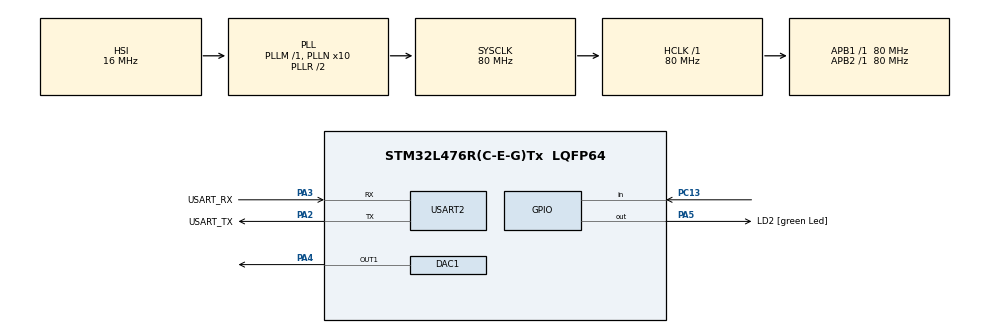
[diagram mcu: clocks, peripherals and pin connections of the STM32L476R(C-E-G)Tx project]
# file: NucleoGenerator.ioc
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DAC1.DAC_Trigger-DAC_OUT1=DAC_TRIGGER_T2_TRGO
Dma.DAC_CH1.0.Direction=DMA_MEMORY_TO_PERIPH
Dma.DAC_CH1.0.Instance=DMA1_Channel3
Dma.DAC_CH1.0.MemDataAlignment=DMA_MDATAALIGN_HALFWORD
Dma.DAC_CH1.0.MemInc=DMA_MINC_ENABLE
Dma.DAC_CH1.0.Mode=DMA_CIRCULAR
Dma.DAC_CH1.0.PeriphDataAlignment=DMA_PDATAALIGN_HALFWORD
Dma.DAC_CH1.0.PeriphInc=DMA_PINC_DISABLE
Dma.DAC_CH1.0.Priority=DMA_PRIORITY_LOW
Dma.Request0=DAC_CH1
Mcu.Family=STM32L4
Mcu.Name=STM32L476R(C-E-G)Tx
Mcu.Package=LQFP64
NVIC.DMA1_Channel3_IRQn=true\:0\:0\:false\:false\:true\:false\:true\:true
NVIC.PriorityGroup=NVIC_PRIORITYGROUP_4
NVIC.TIM2_IRQn=true\:0\:0\:false\:false\:true\:true\:true\:true
PA13\ (JTMS-SWDIO).GPIO_Label=TMS
PA13\ (JTMS-SWDIO).Mode=Serial_Wire
PA13\ (JTMS-SWDIO).Signal=SYS_JTMS-SWDIO
PA14\ (JTCK-SWCLK).GPIO_Label=TCK
PA14\ (JTCK-SWCLK).Mode=Serial_Wire
PA14\ (JTCK-SWCLK).Signal=SYS_JTCK-SWCLK
PA2.GPIO_Label=USART_TX
PA2.GPIO_Mode=GPIO_MODE_AF_PP
PA2.GPIO_PuPd=GPIO_NOPULL
PA2.GPIO_Speed=GPIO_SPEED_FREQ_VERY_HIGH
PA2.Mode=Asynchronous
PA2.Signal=USART2_TX
PA3.GPIO_Label=USART_RX
PA3.GPIO_Mode=GPIO_MODE_AF_PP
PA3.GPIO_PuPd=GPIO_NOPULL
PA3.GPIO_Speed=GPIO_SPEED_FREQ_VERY_HIGH
PA3.Mode=Asynchronous
PA3.Signal=USART2_RX
PA4.Signal=COMP_DAC11_group
PA5.GPIO_Label=LD2 [green Led]
PA5.GPIO_ModeDefaultOutputPP=GPIO_MODE_OUTPUT_PP
PA5.GPIO_PuPd=GPIO_NOPULL
PA5.GPIO_Speed=GPIO_SPEED_FREQ_LOW
PA5.Signal=GPIO_Output
PB3\ (JTDO-TRACESWO).GPIO_Label=SWO
PB3\ (JTDO-TRACESWO).Signal=SYS_JTDO-SWO
PC13.Signal=GPIO_Input
PC14-OSC32_IN\ (PC14).Mode=LSE-External-Oscillator
PC14-OSC32_IN\ (PC14).Signal=RCC_OSC32_IN
PC15-OSC32_OUT\ (PC15).Mode=LSE-External-Oscillator
PC15-OSC32_OUT\ (PC15).Signal=RCC_OSC32_OUT
PH0-OSC_IN\ (PH0).Mode=HSE-External-Oscillator
PH0-OSC_IN\ (PH0).Signal=RCC_OSC_IN
PH1-OSC_OUT\ (PH1).Mode=HSE-External-Oscillator
PH1-OSC_OUT\ (PH1).Signal=RCC_OSC_OUT
ProjectManager.HeapSize=0x200
ProjectManager.StackSize=0x400
ProjectManager.TargetToolchain=STM32CubeIDE
RCC.ADCFreq_Value=64000000
RCC.AHBFreq_Value=80000000
RCC.APB1Freq_Value=80000000
RCC.APB1TimFreq_Value=80000000
RCC.APB2Freq_Value=80000000
RCC.APB2TimFreq_Value=80000000
RCC.CortexFreq_Value=80000000
RCC.HCLKFreq_Value=80000000
RCC.HSE_VALUE=8000000
RCC.HSI_VALUE=16000000
RCC.MSI_VALUE=4000000
RCC.PLLN=10
RCC.PLLSAI1Q=RCC_PLLQ_DIV4
RCC.PLLSourceVirtual=RCC_PLLSOURCE_HSI
RCC.PREFETCH_ENABLE=1
RCC.SYSCLKFreq_VALUE=80000000
RCC.SYSCLKSource=RCC_SYSCLKSOURCE_PLLCLK
RCC.USBFreq_Value=32000000
RCC.VCOOutputFreq_Value=160000000
SH.COMP_DAC11_group.0=DAC1_OUT1,DAC_OUT1
TIM2.Period=1
TIM2.Prescaler=79
TIM2.TIM_MasterOutputTrigger=TIM_TRGO_UPDATE
USART2.VirtualMode-Asynchronous=VM_ASYNC
VP_RNG_VS_RNG.Mode=RNG_Activate
VP_TIM2_VS_ClockSourceINT.Mode=Internal
board=NUCLEO-L476RG

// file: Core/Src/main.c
/* USER CODE BEGIN Header */
/**
  ******************************************************************************
  * @file           : main.c
  * @brief          : Main program body
  ******************************************************************************
  * @attention
  *
  * <h2><center>&copy; Copyright (c) 2021 STMicroelectronics.
  * All rights reserved.</center></h2>
  *
  * This software component is licensed by ST under BSD 3-Clause license,
  * the "License"; You may not use this file except in compliance with the
  * License. You may obtain a copy of the License at:
  *                        opensource.org/licenses/BSD-3-Clause
  *
  ******************************************************************************
  */
/* USER CODE END Header */
#include "main.h"

/* USER CODE BEGIN Includes */
#include "genMain.h"

/* USER CODE END Includes */

DAC_HandleTypeDef hdac1;
DMA_HandleTypeDef hdma_dac_ch1;

RNG_HandleTypeDef hrng;

TIM_HandleTypeDef htim2;

UART_HandleTypeDef huart2;

void SystemClock_Config(void);
static void MX_GPIO_Init(void);
static void MX_DMA_Init(void);
static void MX_USART2_UART_Init(void);
static void MX_DAC1_Init(void);
static void MX_RNG_Init(void);
static void MX_TIM2_Init(void);

int main(void)
{
  /* USER CODE BEGIN 1 */

	unsigned short int	*wave;
	uint32_t			 numPoints;
	float				 realFrequency;

  /* USER CODE END 1 */

  /* MCU Configuration--------------------------------------------------------*/

  /* Reset of all peripherals, Initializes the Flash interface and the Systick. */
  HAL_Init();

  /* Configure the system clock */
  SystemClock_Config();

  /* Initialize all configured peripherals */
  MX_GPIO_Init();
  MX_DMA_Init();
  MX_USART2_UART_Init();
  MX_DAC1_Init();
  MX_RNG_Init();
  MX_TIM2_Init();

  /* Infinite loop */
  while (1)
  {

    /* USER CODE BEGIN 3 */

	  /*
	  HAL_DAC_Start(&hdac1, DAC_CHANNEL_1);
	  HAL_DAC_SetValue(&hdac1, DAC_CHANNEL_1, DAC_ALIGN_12B_R, 0);
	   */

	  do
	  {

		  //light led
		  HAL_GPIO_WritePin(GPIOA, GPIO_PIN_5, GPIO_PIN_SET);

		  //period = 10-1 -> DAC 8MSPS	not usable
		  //period = 20-1 -> DAC 4MSPS
		  //period = 40-1 -> DAC 2MSPS
		  //period = 80-1 -> DAC 1MSPS		100Hz -> 100kHz ( 10pts / period)

		  //period = 800-1 -> DAC 100KSPS

		  htim2.Instance 				= TIM2;
		  htim2.Init.Prescaler 			= 0;
		  htim2.Init.CounterMode 		= TIM_COUNTERMODE_UP;
		  htim2.Init.Period 			= 80 - 1;
		  htim2.Init.ClockDivision 		= TIM_CLOCKDIVISION_DIV1;
		  htim2.Init.AutoReloadPreload	= TIM_AUTORELOAD_PRELOAD_DISABLE;

		  HAL_TIM_Base_Init( &htim2 );
		  HAL_TIM_Base_Start( &htim2 );

//		  wave = genCreateWave( genShapeSquare, 261.626, 0.5, 0.5, 3.3, 0, 1000000, &numPoints, &realFrequency );
//		  wave = genCreateWave( genShapeTriangle, 261.626, 0.5, 0.25, 3.3, 0, 1000000, &numPoints, &realFrequency );
//		  wave = genCreateWave( genShapeSine, 261.626, 1, 0.5, 3.3, 1.65, 1000000, &numPoints, &realFrequency );
		  wave = genCreateWave( genShapeSine, 261.626, 0.5, 0.7, 3.3, 1.65, 1000000, &numPoints, &realFrequency );

		  HAL_DAC_Start_DMA( &hdac1, DAC_CHANNEL_1, wave, numPoints, DAC_ALIGN_12B_R );

		  //Wait for button press and depress
		  do{}while(HAL_GPIO_ReadPin(GPIOC, GPIO_PIN_13) == GPIO_PIN_SET );
		  do{}while(HAL_GPIO_ReadPin(GPIOC, GPIO_PIN_13) == GPIO_PIN_RESET );

		  HAL_TIM_Base_Stop(&htim2);

		  //clear led
		  HAL_GPIO_WritePin(GPIOA, GPIO_PIN_5, GPIO_PIN_RESET);

		  //Wait for button press and depress
		  do{}while(HAL_GPIO_ReadPin(GPIOC, GPIO_PIN_13) == GPIO_PIN_SET );
		  do{}while(HAL_GPIO_ReadPin(GPIOC, GPIO_PIN_13) == GPIO_PIN_RESET );

	  }while(1);

  }
  /* USER CODE END 3 */
}

void SystemClock_Config(void)
{
  RCC_OscInitTypeDef RCC_OscInitStruct = {0};
  RCC_ClkInitTypeDef RCC_ClkInitStruct = {0};

  /** Configure the main internal regulator output voltage
  */
  if (HAL_PWREx_ControlVoltageScaling(PWR_REGULATOR_VOLTAGE_SCALE1) != HAL_OK)
  {
    Error_Handler();
  }

  /** Initializes the RCC Oscillators according to the specified parameters
  * in the RCC_OscInitTypeDef structure.
  */
  RCC_OscInitStruct.OscillatorType = RCC_OSCILLATORTYPE_HSI;
  RCC_OscInitStruct.HSIState = RCC_HSI_ON;
  RCC_OscInitStruct.HSICalibrationValue = RCC_HSICALIBRATION_DEFAULT;
  RCC_OscInitStruct.PLL.PLLState = RCC_PLL_ON;
  RCC_OscInitStruct.PLL.PLLSource = RCC_PLLSOURCE_HSI;
  RCC_OscInitStruct.PLL.PLLM = 1;
  RCC_OscInitStruct.PLL.PLLN = 10;
  RCC_OscInitStruct.PLL.PLLP = RCC_PLLP_DIV7;
  RCC_OscInitStruct.PLL.PLLQ = RCC_PLLQ_DIV2;
  RCC_OscInitStruct.PLL.PLLR = RCC_PLLR_DIV2;
  if (HAL_RCC_OscConfig(&RCC_OscInitStruct) != HAL_OK)
  {
    Error_Handler();
  }

  /** Initializes the CPU, AHB and APB buses clocks
  */
  RCC_ClkInitStruct.ClockType = RCC_CLOCKTYPE_HCLK|RCC_CLOCKTYPE_SYSCLK
                              |RCC_CLOCKTYPE_PCLK1|RCC_CLOCKTYPE_PCLK2;
  RCC_ClkInitStruct.SYSCLKSource = RCC_SYSCLKSOURCE_PLLCLK;
  RCC_ClkInitStruct.AHBCLKDivider = RCC_SYSCLK_DIV1;
  RCC_ClkInitStruct.APB1CLKDivider = RCC_HCLK_DIV1;
  RCC_ClkInitStruct.APB2CLKDivider = RCC_HCLK_DIV1;

  if (HAL_RCC_ClockConfig(&RCC_ClkInitStruct, FLASH_LATENCY_4) != HAL_OK)
  {
    Error_Handler();
  }
}

static void MX_DAC1_Init(void)
{

  DAC_ChannelConfTypeDef sConfig = {0};

  /** DAC Initialization
  */
  hdac1.Instance = DAC1;
  if (HAL_DAC_Init(&hdac1) != HAL_OK)
  {
    Error_Handler();
  }

  /** DAC channel OUT1 config
  */
  sConfig.DAC_SampleAndHold = DAC_SAMPLEANDHOLD_DISABLE;
  sConfig.DAC_Trigger = DAC_TRIGGER_T2_TRGO;
  sConfig.DAC_OutputBuffer = DAC_OUTPUTBUFFER_ENABLE;
  sConfig.DAC_ConnectOnChipPeripheral = DAC_CHIPCONNECT_DISABLE;
  sConfig.DAC_UserTrimming = DAC_TRIMMING_FACTORY;
  if (HAL_DAC_ConfigChannel(&hdac1, &sConfig, DAC_CHANNEL_1) != HAL_OK)
  {
    Error_Handler();
  }

}

static void MX_RNG_Init(void)
{

  hrng.Instance = RNG;
  if (HAL_RNG_Init(&hrng) != HAL_OK)
  {
    Error_Handler();
  }

}

static void MX_TIM2_Init(void)
{

  TIM_ClockConfigTypeDef sClockSourceConfig = {0};
  TIM_MasterConfigTypeDef sMasterConfig = {0};

  htim2.Instance = TIM2;
  htim2.Init.Prescaler = 79;
  htim2.Init.CounterMode = TIM_COUNTERMODE_UP;
  htim2.Init.Period = 1;
  htim2.Init.ClockDivision = TIM_CLOCKDIVISION_DIV1;
  htim2.Init.AutoReloadPreload = TIM_AUTORELOAD_PRELOAD_DISABLE;
  if (HAL_TIM_Base_Init(&htim2) != HAL_OK)
  {
    Error_Handler();
  }
  sClockSourceConfig.ClockSource = TIM_CLOCKSOURCE_INTERNAL;
  if (HAL_TIM_ConfigClockSource(&htim2, &sClockSourceConfig) != HAL_OK)
  {
    Error_Handler();
  }
  sMasterConfig.MasterOutputTrigger = TIM_TRGO_UPDATE;
  sMasterConfig.MasterSlaveMode = TIM_MASTERSLAVEMODE_DISABLE;
  if (HAL_TIMEx_MasterConfigSynchronization(&htim2, &sMasterConfig) != HAL_OK)
  {
    Error_Handler();
  }

}

static void MX_USART2_UART_Init(void)
{

  huart2.Instance = USART2;
  huart2.Init.BaudRate = 115200;
  huart2.Init.WordLength = UART_WORDLENGTH_8B;
  huart2.Init.StopBits = UART_STOPBITS_1;
  huart2.Init.Parity = UART_PARITY_NONE;
  huart2.Init.Mode = UART_MODE_TX_RX;
  huart2.Init.HwFlowCtl = UART_HWCONTROL_NONE;
  huart2.Init.OverSampling = UART_OVERSAMPLING_16;
  huart2.Init.OneBitSampling = UART_ONE_BIT_SAMPLE_DISABLE;
  huart2.AdvancedInit.AdvFeatureInit = UART_ADVFEATURE_NO_INIT;
  if (HAL_UART_Init(&huart2) != HAL_OK)
  {
    Error_Handler();
  }

}

static void MX_DMA_Init(void)
{

  /* DMA controller clock enable */
  __HAL_RCC_DMA1_CLK_ENABLE();

  /* DMA interrupt init */
  /* DMA1_Channel3_IRQn interrupt configuration */
  HAL_NVIC_SetPriority(DMA1_Channel3_IRQn, 0, 0);
  HAL_NVIC_EnableIRQ(DMA1_Channel3_IRQn);

}

static void MX_GPIO_Init(void)
{
  GPIO_InitTypeDef GPIO_InitStruct = {0};

  /* GPIO Ports Clock Enable */
  __HAL_RCC_GPIOC_CLK_ENABLE();
  __HAL_RCC_GPIOH_CLK_ENABLE();
  __HAL_RCC_GPIOA_CLK_ENABLE();
  __HAL_RCC_GPIOB_CLK_ENABLE();

  /*Configure GPIO pin Output Level */
  HAL_GPIO_WritePin(LD2_GPIO_Port, LD2_Pin, GPIO_PIN_RESET);

  /*Configure GPIO pin : PC13 */
  GPIO_InitStruct.Pin = GPIO_PIN_13;
  GPIO_InitStruct.Mode = GPIO_MODE_INPUT;
  GPIO_InitStruct.Pull = GPIO_NOPULL;
  HAL_GPIO_Init(GPIOC, &GPIO_InitStruct);

  /*Configure GPIO pin : LD2_Pin */
  GPIO_InitStruct.Pin = LD2_Pin;
  GPIO_InitStruct.Mode = GPIO_MODE_OUTPUT_PP;
  GPIO_InitStruct.Pull = GPIO_NOPULL;
  GPIO_InitStruct.Speed = GPIO_SPEED_FREQ_LOW;
  HAL_GPIO_Init(LD2_GPIO_Port, &GPIO_InitStruct);

}

void Error_Handler(void)
{
  __disable_irq();
  while (1)
  {
  }
}
